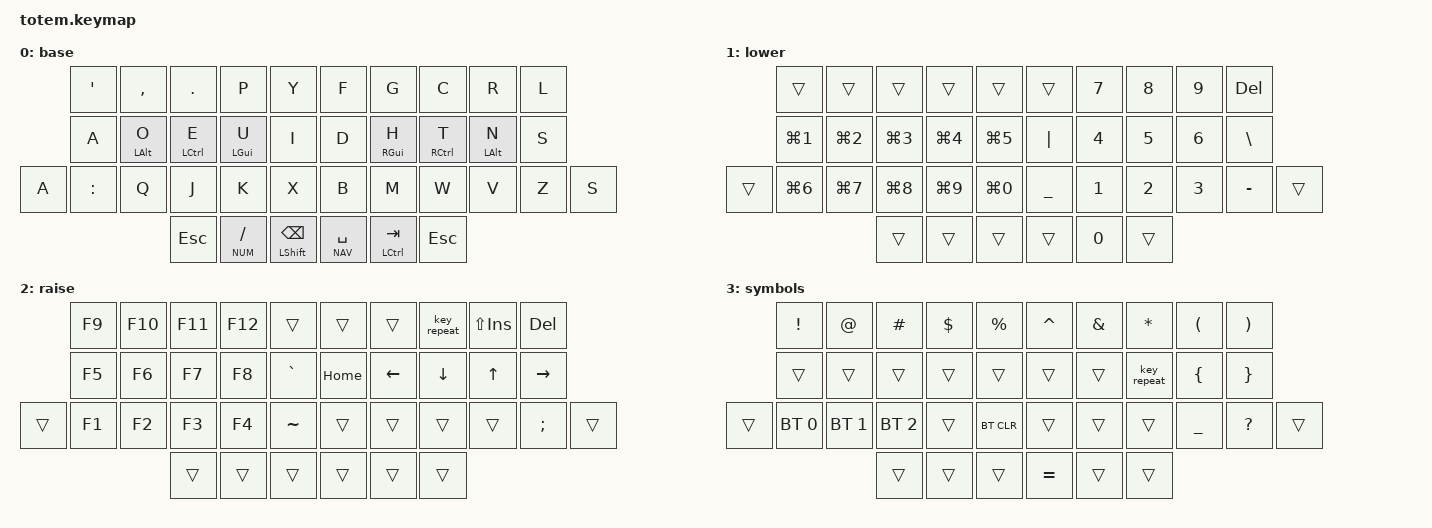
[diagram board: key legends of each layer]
//
//                                                        ▀▀▀▀▀     ▀▀▀▀▀          ▀▀█▀▀
//                                                        ▄▀▀▀▄  ▄  ▄▀▀▀▄  ▄  ▄▀▀▀▄  █  ▄▀▀▀▄
//                                                        █   █  █  █   █  █  █   █  █  █   █
//                                                         ▀▀▀   █   ▀▀▀   █   ▀▀▀   ▀   ▀▀▀
//                                                               █      ▄▄▄█▄▄▄    █   █  
//                                                               ▀      █  █  █     █▄█
//                                                             ▀▀▀▀▀    █  █  █      ▀
//                                                                      ▀  ▀  ▀
//
// ▄▄▄▄▄▄▄▄▄▄▄▄▄▄▄▄▄▄▄▄▄▄▄▄▄▄▄▄▄▄▄▄▄▄▄▄▄▄▄▄▄▄▄▄▄▄▄▄▄▄▄▄▄▄▄▄▄▄▄▄▄▄▄▄▄▄▄▄▄▄▄▄▄▄▄▄▄▄▄▄▄▄▄▄▄▄▄▄▄▄▄▄▄▄▄▄▄▄▄▄▄▄▄▄▄▄▄▄▄▄▄▄▄▄▄▄▄▄▄▄▄▄▄▄▄▄▄▄▄▄▄▄▄▄▄▄▄▄▄▄▄▄▄▄▄▄▄▄▄
       

#include <behaviors.dtsi>
#include <dt-bindings/zmk/keys.h>
#include <dt-bindings/zmk/bt.h>
#include <dt-bindings/zmk/outputs.h>

#include "../zmk-nodefree-config/helper.h"
#include "../zmk-nodefree-config/keypos_def/keypos_38keys.h"

#define ___ &trans

#define BASE 0
#define NUM  1
#define NAV  2
#define SYM  3

// homerow mods
ZMK_BEHAVIOR(hrm, hold_tap,
    flavor = "balanced";
    tapping-term-ms = <220>;
    quick-tap-ms = <150>;
    global-quick-tap;
    bindings = <&kp>, <&kp>;
)

//ZMK_COMBO(name, bindings, keypos, layers, timeout)
ZMK_COMBO(combo_esc, &kp ESC, LB2 LB3, ALL, 100)
ZMK_COMBO(combo_scln, &kp SEMICOLON, LB4 LB3, ALL, 100)
ZMK_COMBO(combo_enter, &lt SYM ENTER, RM2 RM3, ALL, 100)
ZMK_COMBO(combo_opposite_enter, &mo SYM, LM2 LM3, ALL, 100)

ZMK_LAYER(base,
            &kp SQT    &kp COMMA   &kp DOT      &kp P       &kp Y             &kp F      &kp G       &kp C       &kp R       &kp L
            &kp A      &hrm LALT O &hrm LCTRL E &hrm LGUI U &kp I             &kp D      &hrm RGUI H &hrm RCTL T &hrm LALT N &kp S
     &kp A  &kp COLON  &kp Q       &kp J        &kp K       &kp X             &kp B      &kp M       &kp W       &kp V       &kp Z &kp S
                                   &kp ESC  &lt NUM FSLH &mt LSHFT BSPC       &lt NAV SPACE  &mt LCTL TAB &kp ESC
)
ZMK_LAYER(lower,
            ___        ___        ___        ___        ___                  ___        &kp N7     &kp N8     &kp N9     &kp DEL
            &kp LG(N1) &kp LG(N2) &kp LG(N3) &kp LG(N4) &kp LG(N5)           &kp PIPE   &kp N4     &kp N5     &kp N6     &kp BSLH
     ___    &kp LG(N6) &kp LG(N7) &kp LG(N8) &kp LG(N9) &kp LG(N0)           &kp UNDER  &kp N1     &kp N2     &kp N3     &kp MINUS ___
                                  ___         ___       ___                  ___        &kp N0     ___
)
ZMK_LAYER(raise,
            &kp F9     &kp F10    &kp F11    &kp F12    ___                  ___        ___        &key_repeat &kp LS(INS) &kp DEL
            &kp F5     &kp F6     &kp F7     &kp F8     &kp GRAVE            &kp HOME   &kp LEFT   &kp DOWN    &kp UP      &kp RIGHT
       ___  &kp F1     &kp F2     &kp F3     &kp F4     &kp TILDE            ___        ___        ___         ___         &kp SEMI ___
                                  ___        ___        ___                  ___        ___        ___
)
ZMK_LAYER(symbols,
            &kp EXCL     &kp AT       &kp HASH     &kp DLLR  &kp PRCNT       &kp CARET  &kp AMPS   &kp STAR    &kp LPAR  &kp RPAR
            ___          ___          ___          ___       ___             ___        ___        &key_repeat &kp LBRC  &kp RBRC
       ___  &bt BT_SEL 0 &bt BT_SEL 1 &bt BT_SEL 2 ___       &bt BT_CLR      ___        ___        ___         &kp UNDER &kp QMARK ___
                                      ___          ___       ___             &kp EQUAL  ___        ___
)
